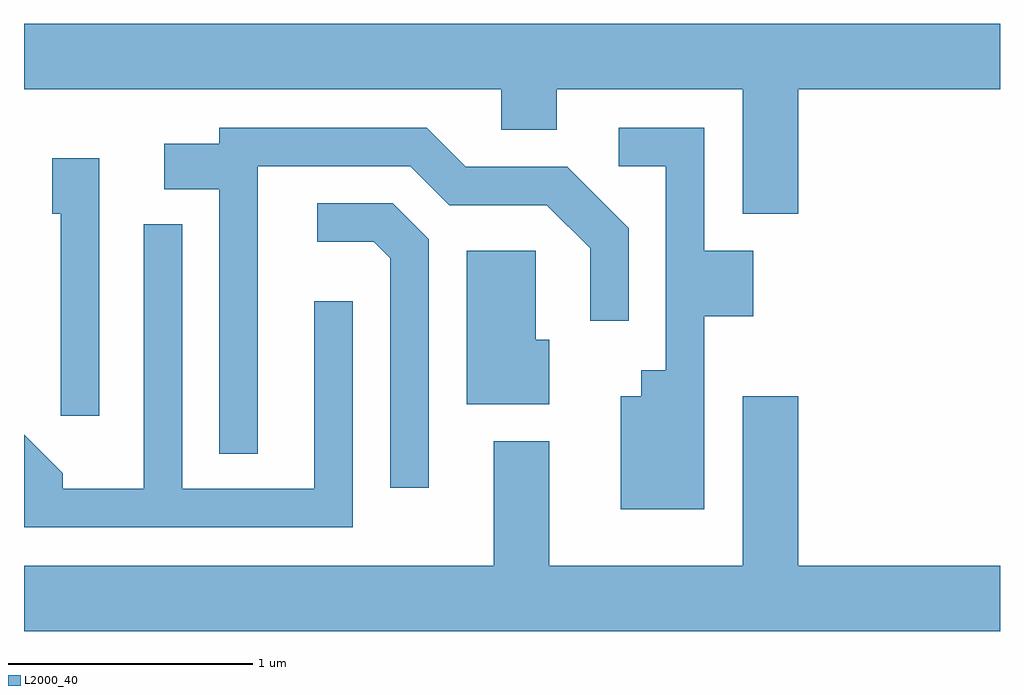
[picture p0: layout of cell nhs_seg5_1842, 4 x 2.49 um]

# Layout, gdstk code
import gdstk
lib = gdstk.Library(unit=1e-6, precision=1e-09)
def P(c, l, *ps):  # polygons
    for p in ps: c.add(gdstk.Polygon(p, *l))
L2000_40 = (2000, 40)

nhs_seg5_1842 = lib.new_cell('nhs_seg5_1842')
P(nhs_seg5_1842, L2000_40, [(242.784,1463.456),(243.611,1463.456),(243.611,1463.724),(239.611,1463.724),(239.611,1463.456),(241.566,1463.456),(241.566,1463.291),(241.794,1463.291),(241.794,1463.456),(242.556,1463.456),(242.556,1462.946),(242.784,1462.946)],
  [(240.569,1463.141),(241.194,1463.141),(241.354,1462.981),(241.754,1462.981),(241.931,1462.804),(241.931,1462.508),(242.089,1462.508),(242.089,1462.887),(241.837,1463.139),(241.422,1463.139),(241.262,1463.299),(240.411,1463.299),(240.411,1463.234),(240.186,1463.234),(240.186,1463.046),(240.411,1463.046),(240.411,1461.963),(240.569,1461.963)],
  [(242.399,1462.526),(242.599,1462.526),(242.599,1462.794),(242.399,1462.794),(242.399,1463.299),(242.048,1463.299),(242.048,1463.141),(242.241,1463.141),(242.241,1462.304),(242.141,1462.304),(242.141,1462.199),(242.056,1462.199),(242.056,1461.736),(242.399,1461.736)],
  [(239.919,1463.174),(239.726,1463.174),(239.726,1462.946),(239.761,1462.946),(239.761,1462.118),(239.919,1462.118)],
  [(241.269,1462.842),(241.122,1462.989),(240.813,1462.989),(240.813,1462.831),(241.044,1462.831),(241.111,1462.764),(241.111,1461.823),(241.269,1461.823)],
  [(240.959,1462.588),(240.801,1462.588),(240.801,1461.819),(240.259,1461.819),(240.259,1462.903),(240.101,1462.903),(240.101,1461.819),(239.769,1461.819),(239.769,1461.882),(239.611,1462.04),(239.611,1461.661),(240.959,1461.661)],
  [(241.764,1462.429),(241.709,1462.429),(241.709,1462.794),(241.426,1462.794),(241.426,1462.166),(241.764,1462.166)],
  [(243.611,1461.504),(242.784,1461.504),(242.784,1462.199),(242.556,1462.199),(242.556,1461.504),(241.764,1461.504),(241.764,1462.014),(241.536,1462.014),(241.536,1461.504),(239.611,1461.504),(239.611,1461.236),(243.611,1461.236)])

lib.write_gds('nhs_seg5_1842.gds')
